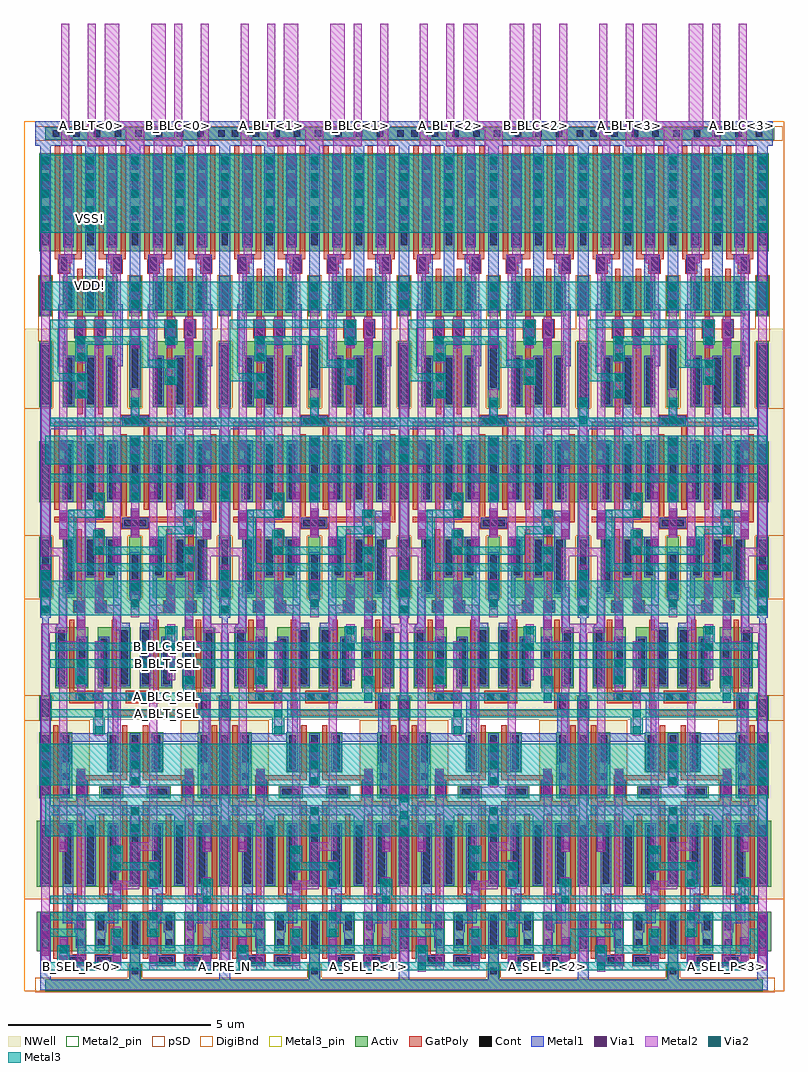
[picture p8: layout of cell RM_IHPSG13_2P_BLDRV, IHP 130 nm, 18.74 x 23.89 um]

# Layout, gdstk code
from math import pi, radians
import gdstk
lib = gdstk.Library(unit=1e-6, precision=1e-09)
def R(c, l, rs):  # rectangles x0, y0, x1, y1
    for r in rs: c.add(gdstk.rectangle(r[:2], r[2:], *l))
def A(c, l, x, y, w, h, nx, ny, dx, dy):  # array of equal rectangles
    R(c, l, [(x+i*dx, y+j*dy, x+i*dx+w, y+j*dy+h) for i in range(nx) for j in range(ny)])
def P(c, l, *ps):  # polygons
    for p in ps: c.add(gdstk.Polygon(p, *l))
Activ = (1, 0)
GatPoly = (5, 0)
Cont = (6, 0)
Metal1 = (8, 0)
Metal2 = (10, 0)
Metal2_pin = (10, 2)
pSD = (14, 0)
DigiBnd = (16, 0)
Via1 = (19, 0)
Via2 = (29, 0)
Metal3 = (30, 0)
Metal3_pin = (30, 2)
NWell = (31, 0)

m2_m1_cdns_749721464288 = lib.new_cell('M2_M1_CDNS_749721464288')
R(m2_m1_cdns_749721464288, Metal1, [(-0.35,-0.105,0.35,0.105)])
R(m2_m1_cdns_749721464288, Metal2, [(-0.35,-0.1,0.35,0.1)])
R(m2_m1_cdns_749721464288, Via1, [(-0.3,-0.095,-0.11,0.095), (0.11,-0.095,0.3,0.095)])

m3_m2_cdns_7497214642810 = lib.new_cell('M3_M2_CDNS_7497214642810')
R(m3_m2_cdns_7497214642810, Metal2, [(-0.35,-0.1,0.35,0.1)])
R(m3_m2_cdns_7497214642810, Via2, [(-0.3,-0.095,-0.11,0.095), (0.11,-0.095,0.3,0.095)])
R(m3_m2_cdns_7497214642810, Metal3, [(-0.35,-0.1,0.35,0.1)])

viagen23_cdns_7497214642 = lib.new_cell('viagen23_CDNS_7497214642830')
R(viagen23_cdns_7497214642, Metal2, [(-0.105,-0.35,0.105,0.35)])
R(viagen23_cdns_7497214642, Via2, [(-0.095,-0.3,0.095,-0.11), (-0.095,0.11,0.095,0.3)])
R(viagen23_cdns_7497214642, Metal3, [(-0.1,-0.35,0.1,0.35)])

viagen12_cdns_7497214642 = lib.new_cell('viagen12_CDNS_7497214642831')
R(viagen12_cdns_7497214642, Metal1, [(-0.105,-0.35,0.105,0.35)])
R(viagen12_cdns_7497214642, Metal2, [(-0.1,-0.35,0.1,0.35)])
R(viagen12_cdns_7497214642, Via1, [(-0.095,-0.3,0.095,-0.11), (-0.095,0.11,0.095,0.3)])

m2_m1_cdns_7497214642828 = lib.new_cell('M2_M1_CDNS_7497214642828')
R(m2_m1_cdns_7497214642828, Metal1, [(-0.555,-0.105,0.555,0.105)])
R(m2_m1_cdns_7497214642828, Metal2, [(-0.555,-0.1,0.555,0.1)])
A(m2_m1_cdns_7497214642828, Via1, -0.505, -0.095, 0.19, 0.19, 3, 1, 0.41, 0)

c_viagen23_cdns_7497214642 = lib.new_cell('viagen23_CDNS_7497214642832')
R(c_viagen23_cdns_7497214642, Metal2, [(-0.965,-0.1,0.145,0.1)])
A(c_viagen23_cdns_7497214642, Via2, -0.915, -0.095, 0.19, 0.19, 3, 1, 0.41, 0)
R(c_viagen23_cdns_7497214642, Metal3, [(-0.92,-0.145,0.1,0.145)])

m3_m2_cdns_7497214642833 = lib.new_cell('M3_M2_CDNS_7497214642833')
R(m3_m2_cdns_7497214642833, Metal2, [(-0.35,-0.1,0.35,0.1)])
R(m3_m2_cdns_7497214642833, Via2, [(-0.3,-0.095,-0.11,0.095), (0.11,-0.095,0.3,0.095)])
R(m3_m2_cdns_7497214642833, Metal3, [(-0.305,-0.145,0.305,0.145)])

m2_m1_cdns_7497214642834 = lib.new_cell('M2_M1_CDNS_7497214642834')
R(m2_m1_cdns_7497214642834, Metal1, [(-0.965,-0.105,0.145,0.105)])
R(m2_m1_cdns_7497214642834, Metal2, [(-0.965,-0.1,0.145,0.1)])
A(m2_m1_cdns_7497214642834, Via1, -0.915, -0.095, 0.19, 0.19, 3, 1, 0.41, 0)

m3_m2_cdns_7497214642835 = lib.new_cell('M3_M2_CDNS_7497214642835')
R(m3_m2_cdns_7497214642835, Metal2, [(-0.555,-0.1,0.555,0.1)])
A(m3_m2_cdns_7497214642835, Via2, -0.505, -0.095, 0.19, 0.19, 3, 1, 0.41, 0)
R(m3_m2_cdns_7497214642835, Metal3, [(-0.555,-0.1,0.555,0.1)])

m2_m1_cdns_7497214642836 = lib.new_cell('M2_M1_CDNS_7497214642836')
R(m2_m1_cdns_7497214642836, Metal1, [(-1.785,-0.105,0.145,0.105)])
R(m2_m1_cdns_7497214642836, Metal2, [(-1.785,-0.1,0.145,0.1)])
A(m2_m1_cdns_7497214642836, Via1, -1.735, -0.095, 0.19, 0.19, 5, 1, 0.41, 0)

m3_m2_cdns_7497214642837 = lib.new_cell('M3_M2_CDNS_7497214642837')
R(m3_m2_cdns_7497214642837, Metal2, [(-1.785,-0.1,0.145,0.1)])
A(m3_m2_cdns_7497214642837, Via2, -1.735, -0.095, 0.19, 0.19, 5, 1, 0.41, 0)
R(m3_m2_cdns_7497214642837, Metal3, [(-1.785,-0.1,0.145,0.1)])

m2_m1_cdns_7497214642838 = lib.new_cell('M2_M1_CDNS_7497214642838')
R(m2_m1_cdns_7497214642838, Metal1, [(-0.555,-0.105,0.145,0.105)])
R(m2_m1_cdns_7497214642838, Metal2, [(-0.555,-0.1,0.145,0.1)])
R(m2_m1_cdns_7497214642838, Via1, [(-0.505,-0.095,-0.315,0.095), (-0.095,-0.095,0.095,0.095)])

m3_m2_cdns_7497214642839 = lib.new_cell('M3_M2_CDNS_7497214642839')
R(m3_m2_cdns_7497214642839, Metal2, [(-0.555,-0.1,0.145,0.1)])
R(m3_m2_cdns_7497214642839, Via2, [(-0.505,-0.095,-0.315,0.095), (-0.095,-0.095,0.095,0.095)])
R(m3_m2_cdns_7497214642839, Metal3, [(-0.51,-0.145,0.1,0.145)])

rm_ihpsg13_2p_bldrv_core = lib.new_cell('RM_IHPSG13_2P_BLDRV_CORE')
R(rm_ihpsg13_2p_bldrv_core, Activ, [(0,-0.15,4.42,0.15), (-0.22,0.83,1,1.81), (1.22,0.83,2.43,1.81), (1.99,0.83,3.2,1.81), (3.42,0.83,4.64,1.81), (-0.22,2.43,1.26,4.05), (0.96,2.43,2.43,4.05), (1.99,2.43,3.46,4.05), (3.16,2.43,4.64,4.05), (-0.15,4.61,0.66,6.23), (1.33,4.61,1.92,4.91), (2.5,4.61,3.09,4.91), (3.76,4.61,4.57,6.23), (1.52,5.25,2.9,6.23), (-0.15,6.53,0.15,7.135), (4.27,6.53,4.57,7.135), (0.24,7.325,1.05,8.825), (1.29,7.325,2.1,8.825), (2.32,7.325,3.13,8.825), (3.37,7.325,4.18,8.825), (-0.15,9.555,0.15,11.055), (-0.15,9.555,0.15,11.055), (0.43,9.555,1.78,11.055), (2.06,9.555,2.36,11.055), (2.06,9.555,2.36,11.055), (2.64,9.555,3.99,11.055), (4.27,9.555,4.57,11.055), (4.27,9.555,4.57,11.055), (-0.15,11.905,4.57,13.405), (-0.15,14.255,0.15,15.875), (-0.15,14.255,0.15,15.875), (0.43,14.255,1.78,15.875), (2.06,14.255,2.36,15.875), (2.06,14.255,2.36,15.875), (2.64,14.255,3.99,15.875), (4.27,14.255,4.57,15.875), (4.27,14.255,4.57,15.875), (-0.15,16.495,0.15,17.475), (-0.15,16.495,0.15,17.475), (0.43,16.495,1.78,17.475), (2.06,16.495,2.36,17.475), (2.06,16.495,2.36,17.475), (2.64,16.495,3.99,17.475), (4.27,16.495,4.57,17.475), (4.27,16.495,4.57,17.475), (-0.15,18.1,4.57,20.51), (0,20.85,4.705,21.15)])
P(rm_ihpsg13_2p_bldrv_core, Activ, [(2.06,-0.15),(2.06,0.5),(2.09,0.5),(2.09,0.83),(2.33,0.83),(2.33,0.5),(2.36,0.5),(2.36,-0.15)])
R(rm_ihpsg13_2p_bldrv_core, GatPoly, [(0.53,0.46,1.01,0.76), (1.21,0.46,1.69,0.76), (2.73,0.46,3.21,0.76), (3.41,0.46,3.89,0.76), (0.19,0.65,0.32,2.25), (0.53,0.65,0.66,2.25), (1.56,0.65,1.69,2.25), (1.89,0.65,2.02,2.25), (2.4,0.65,2.53,2.25), (2.73,0.65,2.86,2.25), (3.76,0.65,3.89,2.25), (4.1,0.65,4.23,2.25), (0.53,2.12,0.9,2.25), (1.32,2.12,1.69,2.25), (2.73,2.12,3.1,2.25), (3.52,2.12,3.89,2.25), (0.19,2.25,0.32,4.23), (0.77,2.25,0.9,4.23), (1.32,2.25,1.45,4.23), (1.89,2.25,2.02,4.23), (2.4,2.25,2.53,4.23), (2.97,2.25,3.1,4.23), (3.52,2.25,3.65,4.23), (4.1,2.25,4.23,4.23), (0.19,4.23,0.32,6.41), (4.1,4.23,4.23,6.41), (1.89,5.07,2.02,6.41), (2.4,5.07,2.53,6.41), (3.71,6.735,3.84,9.005), (3.76,6.735,4.06,7.215), (1.87,11.245,2.56,11.545), (0.21,11.725,0.34,13.585), (0.77,11.725,0.9,13.585), (1.31,11.725,1.44,13.585), (1.87,11.725,2,13.585), (2.42,11.725,2.55,13.585), (2.98,11.725,3.11,13.585), (3.52,11.725,3.65,13.585), (4.08,11.725,4.21,13.585), (1.86,13.765,2.55,14.065), (0.785,14.075,0.915,15.945), (1.295,14.075,1.425,15.945), (2.995,14.075,3.125,15.945), (3.505,14.075,3.635,15.945), (0.705,15.945,1.005,16.425), (1.195,15.945,1.495,16.425), (2.925,15.945,3.225,16.425), (3.415,15.945,3.715,16.425), (0.785,16.425,0.915,17.665), (1.295,16.425,1.425,17.665), (2.995,16.425,3.125,17.665), (3.505,16.425,3.635,17.665), (0.305,17.545,0.605,17.895), (1.605,17.545,1.905,17.895), (2.515,17.545,2.815,17.895), (3.815,17.545,4.115,17.895)])
P(rm_ihpsg13_2p_bldrv_core, GatPoly, [(2.4,4.23),(2.4,4.54),(3.365,4.54),(3.365,5.05),(2.4,5.05),(2.4,5.18),(3.665,5.18),(3.665,4.54),(4.23,4.54),(4.23,4.41),(2.53,4.41),(2.53,4.23)],
  [(0.58,6.955),(0.58,9.005),(0.71,9.005),(0.71,7.255),(1.39,7.255),(1.39,6.955)],
  [(2.905,9.185),(2.905,9.485),(2.98,9.485),(2.98,11.235),(3.11,11.235),(3.11,9.485),(3.205,9.485),(3.205,9.185)],
  [(2.44,17.895),(2.44,20.7),(2.57,20.7),(2.57,18.025),(2.98,18.025),(2.98,20.7),(3.11,20.7),(3.11,17.895)],
  [(1.98,6.955),(1.98,7.255),(2.66,7.255),(2.66,9.005),(2.79,9.005),(2.79,6.955)],
  [(1.89,4.23),(1.89,4.41),(0.19,4.41),(0.19,4.54),(0.755,4.54),(0.755,5.18),(2.02,5.18),(2.02,5.05),(1.055,5.05),(1.055,4.54),(2.02,4.54),(2.02,4.23)],
  [(1.215,9.185),(1.215,9.485),(1.31,9.485),(1.31,11.235),(1.44,11.235),(1.44,9.485),(1.515,9.485),(1.515,9.185)],
  [(0.21,11.415),(0.21,11.545),(1.31,11.545),(1.31,11.725),(1.44,11.725),(1.44,11.545),(1.87,11.545),(1.87,11.725),(2,11.725),(2,11.545),(3.52,11.545),(3.52,11.725),(3.65,11.725),(3.65,11.545),(4.08,11.545),(4.08,11.725),(4.21,11.725),(4.21,11.415)],
  [(3.435,9.185),(3.435,9.485),(3.52,9.485),(3.52,11.235),(3.65,11.235),(3.65,9.485),(3.735,9.485),(3.735,9.185)],
  [(0.21,13.585),(0.21,13.895),(4.21,13.895),(4.21,13.765),(3.11,13.765),(3.11,13.585),(2.98,13.585),(2.98,13.765),(2.55,13.765),(2.55,13.585),(2.42,13.585),(2.42,13.765),(0.9,13.765),(0.9,13.585),(0.77,13.585),(0.77,13.765),(0.34,13.765),(0.34,13.585)],
  [(3.52,17.895),(3.52,20.7),(3.65,20.7),(3.65,18.025),(4.06,18.025),(4.06,20.7),(4.19,20.7),(4.19,17.895)],
  [(1.63,6.645),(1.63,9.005),(1.76,9.005),(1.76,6.775),(4.06,6.775),(4.06,6.645)],
  [(0.23,17.895),(0.23,20.7),(0.36,20.7),(0.36,18.025),(0.77,18.025),(0.77,20.7),(0.9,20.7),(0.9,17.895)],
  [(0.685,9.185),(0.685,9.485),(0.77,9.485),(0.77,11.235),(0.9,11.235),(0.9,9.485),(0.985,9.485),(0.985,9.185)],
  [(1.31,17.895),(1.31,20.7),(1.44,20.7),(1.44,18.025),(1.85,18.025),(1.85,20.7),(1.98,20.7),(1.98,17.895)])
A(rm_ihpsg13_2p_bldrv_core, Cont, 1.03, 2.5, 0.16, 1.445, 3, 1, 0.55, 0)
A(rm_ihpsg13_2p_bldrv_core, Cont, 2.13, 2.5, 0.16, 1.445, 3, 1, 0.55, 0)
A(rm_ihpsg13_2p_bldrv_core, Cont, 1.59, 5.32, 0.16, 0.84, 3, 1, 0.54, 0)
A(rm_ihpsg13_2p_bldrv_core, Cont, 0.475, 11.975, 0.16, 1.36, 3, 1, 0.55, 0)
A(rm_ihpsg13_2p_bldrv_core, Cont, 2.685, 11.975, 0.16, 1.36, 3, 1, 0.55, 0)
A(rm_ihpsg13_2p_bldrv_core, Cont, 0.5, 14.325, 0.16, 1.15, 3, 1, 0.525, 0)
A(rm_ihpsg13_2p_bldrv_core, Cont, 2.71, 14.325, 0.16, 1.15, 3, 1, 0.525, 0)
A(rm_ihpsg13_2p_bldrv_core, Cont, 0.5, 16.635, 0.16, 0.7, 3, 1, 0.525, 0)
A(rm_ihpsg13_2p_bldrv_core, Cont, 2.71, 16.635, 0.16, 0.7, 3, 1, 0.525, 0)
A(rm_ihpsg13_2p_bldrv_core, Cont, -0.08, 18.24, 0.16, 0.34, 1, 4, 0, 0.62)
A(rm_ihpsg13_2p_bldrv_core, Cont, 0.485, 18.24, 0.16, 0.34, 3, 4, 0.54, 0.62)
A(rm_ihpsg13_2p_bldrv_core, Cont, 2.13, 18.24, 0.16, 0.34, 1, 4, 0, 0.62)
A(rm_ihpsg13_2p_bldrv_core, Cont, 2.695, 18.24, 0.16, 0.34, 3, 4, 0.54, 0.62)
A(rm_ihpsg13_2p_bldrv_core, Cont, 4.34, 18.24, 0.16, 0.34, 1, 4, 0, 0.62)
A(rm_ihpsg13_2p_bldrv_core, Cont, 0.175, 20.92, 0.16, 0.16, 9, 1, 0.51, 0)
R(rm_ihpsg13_2p_bldrv_core, Cont, [(2.13,0.27,2.29,0.43), (0.6,0.53,0.94,0.69), (1.28,0.53,1.62,0.69), (2.8,0.53,3.14,0.69), (3.48,0.53,3.82,0.69), (-0.08,0.9,0.08,1.74), (2.13,0.9,2.29,1.74), (2.13,0.9,2.29,1.74), (4.34,0.9,4.5,1.74), (0.77,0.97,0.93,1.13), (1.29,0.97,1.45,1.13), (2.97,0.97,3.13,1.13), (3.49,0.97,3.65,1.13), (0.77,1.35,0.93,1.74), (1.29,1.35,1.45,1.74), (2.97,1.35,3.13,1.74), (3.49,1.35,3.65,1.74), (-0.08,2.5,0.08,3.945), (0.48,2.5,0.64,3.945), (1.03,2.5,1.19,3.945), (3.23,2.5,3.39,3.945), (3.78,2.5,3.94,3.945), (4.34,2.5,4.5,3.945), (-0.08,4.68,0.08,6.16), (0.43,4.68,0.59,4.84), (0.825,4.68,0.985,5.02), (1.42,4.68,1.83,4.84), (2.59,4.68,3,4.84), (3.435,4.68,3.595,5.02), (3.83,4.68,3.99,4.84), (4.34,4.68,4.5,6.16), (0.43,5.06,0.59,5.22), (3.83,5.06,3.99,5.22), (0.43,5.5,0.59,6.16), (3.83,5.5,3.99,6.16), (-0.08,6.62,0.08,7.045), (4.34,6.62,4.5,7.045), (3.83,6.805,3.99,7.145), (0.82,7.025,0.98,7.185), (1.16,7.025,1.32,7.185), (2.05,7.025,2.21,7.185), (2.39,7.025,2.55,7.185), (0.31,7.425,0.47,8.755), (0.82,7.425,0.98,8.535), (1.36,7.425,1.52,8.535), (1.87,7.425,2.03,8.755), (2.39,7.425,2.55,8.755), (2.39,7.425,2.55,8.755), (2.9,7.425,3.06,8.535), (3.44,7.425,3.6,8.535), (3.95,7.425,4.11,8.755), (0.755,9.255,0.915,9.415), (1.285,9.255,1.445,9.415), (2.975,9.255,3.135,9.415), (3.505,9.255,3.665,9.415), (-0.08,9.625,0.08,10.985), (2.13,9.625,2.29,10.61), (4.34,9.625,4.5,10.985), (0.5,9.695,0.66,10.985), (3.76,9.695,3.92,10.985), (1.025,10.105,1.185,10.985), (1.55,10.105,1.71,10.985), (2.71,10.105,2.87,10.985), (3.235,10.105,3.395,10.985), (1.94,11.315,2.48,11.475), (-0.08,11.975,0.08,13.335), (2.13,11.975,2.29,13.335), (4.34,11.975,4.5,13.335), (1.94,13.835,2.48,13.995), (-0.08,14.325,0.08,15.78), (-0.08,14.325,0.08,15.78), (4.34,14.325,4.5,15.78), (4.34,14.325,4.5,15.78), (2.13,14.735,2.29,15.78), (0.775,16.015,0.935,16.355), (1.265,16.015,1.425,16.355), (2.995,16.015,3.155,16.355), (3.485,16.015,3.645,16.355), (-0.08,16.635,0.08,17.335), (-0.08,16.635,0.08,17.335), (2.13,16.635,2.29,17.335), (2.13,16.635,2.29,17.335), (4.34,16.635,4.5,17.335), (4.34,16.635,4.5,17.335), (0.375,17.615,0.535,17.955), (1.675,17.615,1.835,17.955), (2.585,17.615,2.745,17.955), (3.885,17.615,4.045,17.955)])
A(rm_ihpsg13_2p_bldrv_core, Metal1, -0.13, 0.13, 0.26, 1.66, 3, 1, 2.21, 0)
A(rm_ihpsg13_2p_bldrv_core, Metal1, 0.43, 2.45, 0.26, 1.545, 4, 1, 1.1, 0)
A(rm_ihpsg13_2p_bldrv_core, Metal1, 0.98, 2.45, 0.26, 1.98, 3, 1, 1.1, 0)
A(rm_ihpsg13_2p_bldrv_core, Metal1, 1.03, 2.45, 0.16, 1.98, 3, 1, 1.1, 0)
A(rm_ihpsg13_2p_bldrv_core, Metal1, 1.54, 5.27, 0.26, 0.94, 3, 1, 0.54, 0)
A(rm_ihpsg13_2p_bldrv_core, Metal1, 0.425, 11.925, 0.26, 1.505, 3, 1, 0.55, 0)
R(rm_ihpsg13_2p_bldrv_core, Metal1, [(-0.13,-0.13,4.55,0.13), (2.13,0.13,2.29,1.79), (0.335,0.48,0.99,0.74), (1.23,0.48,1.67,0.74), (2.75,0.48,3.19,0.74), (3.43,0.48,4.085,0.74), (-0.13,2.45,0.13,4.63), (4.29,2.45,4.55,4.63), (-0.13,4.195,4.55,4.43), (-0.13,4.63,0.13,6.21), (0.775,4.63,1.035,5.07), (3.385,4.63,3.645,5.07), (4.29,4.63,4.55,6.21), (0.64,6,1.54,6.21), (2.88,6,3.78,6.21), (-0.13,6.21,0.13,7.115), (1.54,6.21,1.8,7.195), (3.78,6.21,4.04,7.195), (4.29,6.21,4.55,7.115), (0.75,7.015,2.6,7.195), (-0.08,7.115,0.08,9.055), (4.34,7.115,4.5,9.055), (0.26,7.375,0.52,8.89), (0.77,7.375,1.03,8.585), (1.31,7.375,1.57,8.585), (1.82,7.375,2.08,8.935), (2.34,7.375,2.6,8.935), (2.85,7.375,3.11,8.585), (3.39,7.375,3.65,8.585), (3.9,7.375,4.16,8.825), (-0.13,9.055,0.13,11.925), (4.29,9.055,4.55,11.925), (0.705,9.205,0.965,9.465), (1.235,9.205,1.495,9.465), (2.925,9.205,3.185,9.465), (3.455,9.205,3.715,9.465), (2.08,9.48,2.34,10.68), (0.975,10.055,1.235,11.035), (1.5,10.055,1.76,11.055), (2.66,10.055,2.92,11.055), (3.185,10.055,3.445,11.015), (0.975,11.015,1.235,12.055), (3.185,11.015,3.445,12.055), (1.89,11.265,2.53,11.525), (-0.13,11.925,0.13,13.43), (2.08,11.925,2.34,13.545), (2.635,11.925,2.895,13.435), (3.185,11.925,3.445,13.43), (3.735,11.925,3.995,13.43), (4.29,11.925,4.55,13.43), (-0.13,13.255,0.13,15.83), (0.975,13.255,1.235,15.525), (3.185,13.255,3.445,15.525), (4.29,13.255,4.55,15.83), (0.06,13.71,1.03,13.99), (3.38,13.71,4.35,13.99), (1.89,13.785,2.53,14.045), (0.975,14.275,1.235,15.525), (3.185,14.275,3.445,15.525), (2.08,14.685,2.34,16.405), (0.725,15.965,0.985,16.405), (1.215,15.965,1.475,16.405), (2.945,15.965,3.205,16.405), (3.435,15.965,3.695,16.405), (-0.13,16.515,0.13,17.665), (4.29,16.515,4.55,17.665), (0.975,16.585,1.235,18.19), (2.08,16.585,2.34,20.7), (3.185,16.585,3.445,18.19), (0.325,17.565,0.71,18.005), (2.535,17.565,2.92,18.005), (3.71,17.565,4.095,18.005), (-0.13,17.665,0.13,20.7), (4.29,17.665,4.55,20.7), (0.435,18.19,0.695,20.49), (0.975,18.19,1.235,20.7), (1.515,18.19,1.775,20.49), (2.645,18.19,2.905,20.49), (3.185,18.19,3.445,20.7), (3.725,18.19,3.985,20.49), (-0.255,20.7,4.675,21.3)])
P(rm_ihpsg13_2p_bldrv_core, Metal1, [(0.43,1.53),(0.43,2.45),(0.69,2.45),(0.69,1.79),(0.72,1.79),(0.72,1.53)],
  [(0.38,4.63),(0.38,6.21),(0.64,6.21),(0.64,5.45),(0.595,5.45),(0.595,4.63)],
  [(0.33,8.825),(0.33,9.805),(0.45,9.805),(0.45,11.695),(0.71,11.695),(0.71,9.645),(0.515,9.645),(0.515,8.825)],
  [(0.45,14.275),(0.45,15.265),(0.31,15.265),(0.31,16.785),(0.45,16.785),(0.45,17.565),(0.71,17.565),(0.71,16.585),(0.49,16.585),(0.49,15.525),(0.71,15.525),(0.71,14.275)],
  [(2.66,14.275),(2.66,15.265),(2.52,15.265),(2.52,16.785),(2.66,16.785),(2.66,17.565),(2.92,17.565),(2.92,16.585),(2.7,16.585),(2.7,15.525),(2.92,15.525),(2.92,14.275)],
  [(2.555,8.755),(2.555,10.355),(2.66,10.355),(2.66,11.055),(2.92,11.055),(2.92,10.055),(2.745,10.055),(2.745,8.755)],
  [(3.905,8.825),(3.905,9.645),(3.71,9.645),(3.71,11.695),(3.97,11.695),(3.97,9.805),(4.09,9.805),(4.09,8.825)],
  [(1.675,8.755),(1.675,10.055),(1.5,10.055),(1.5,11.055),(1.76,11.055),(1.76,10.355),(1.865,10.355),(1.865,8.755)],
  [(0.75,0.92),(0.75,1.3),(0.72,1.3),(0.72,1.79),(0.98,1.79),(0.98,0.92)],
  [(3.71,14.275),(3.71,15.525),(3.93,15.525),(3.93,16.585),(3.71,16.585),(3.71,17.565),(3.97,17.565),(3.97,16.785),(4.11,16.785),(4.11,15.265),(3.97,15.265),(3.97,14.275)],
  [(3.44,0.92),(3.44,1.79),(3.7,1.79),(3.7,1.3),(3.67,1.3),(3.67,0.92)],
  [(1.5,14.275),(1.5,15.525),(1.72,15.525),(1.72,16.585),(1.5,16.585),(1.5,18.005),(1.885,18.005),(1.885,17.565),(1.76,17.565),(1.76,16.785),(1.9,16.785),(1.9,15.265),(1.76,15.265),(1.76,14.275)],
  [(2.95,0.92),(2.95,1.3),(2.92,1.3),(2.92,1.79),(3.18,1.79),(3.18,0.92)],
  [(1.5,1.53),(1.5,1.79),(1.53,1.79),(1.53,2.45),(1.79,2.45),(1.79,1.53)],
  [(2.63,1.53),(2.63,2.45),(2.89,2.45),(2.89,1.79),(2.92,1.79),(2.92,1.53)],
  [(1.37,4.63),(1.37,4.89),(2.08,4.89),(2.08,5.27),(2.34,5.27),(2.34,4.89),(3.05,4.89),(3.05,4.63)],
  [(1.24,0.92),(1.24,1.79),(1.5,1.79),(1.5,1.3),(1.47,1.3),(1.47,0.92)],
  [(3.7,1.53),(3.7,1.79),(3.73,1.79),(3.73,2.45),(3.99,2.45),(3.99,1.53)],
  [(3.825,4.63),(3.825,5.45),(3.78,5.45),(3.78,6.21),(4.04,6.21),(4.04,4.63)])
R(rm_ihpsg13_2p_bldrv_core, Metal2, [(-0.1,0.37,0.1,8.905), (0.34,0.37,0.54,0.74), (0.78,0.37,0.98,5.33), (1.66,0.37,1.86,0.74), (2.56,0.37,2.76,1.8), (3.44,0.37,3.64,5.33), (3.88,0.37,4.08,2.205), (4.32,0.37,4.52,8.905), (1.66,2.365,2.315,2.575), (2.105,2.365,2.315,3.52), (2.555,2.375,2.765,3.075), (0.34,3.295,0.54,8.485), (3.88,3.295,4.08,8.485), (2.105,3.31,2.76,3.52), (1.66,3.375,1.86,9.35), (2.56,3.52,2.76,9.375), (2.105,3.73,2.315,4.43), (1.22,6.845,1.42,8.075), (3.44,6.965,3.64,8.075), (0.78,7.23,0.98,8.075), (3,7.52,3.2,8.075), (0.34,8.285,0.98,8.485), (0.78,8.285,0.98,15.085), (3.44,8.285,4.08,8.485), (3.44,8.285,3.64,10.405), (-0.1,8.695,0.54,8.905), (3.88,8.695,4.52,8.905), (0.34,8.905,0.54,10.575), (3.88,8.905,4.08,10.785), (2.105,9.075,2.315,10.01), (-0.1,9.115,0.1,10.365), (4.32,9.115,4.52,10.365), (1.22,9.175,1.42,10.815), (1.22,9.175,1.86,9.375), (2.56,9.175,3.2,9.375), (3,9.175,3.2,15.42), (1.66,10.355,1.86,18.005), (2.56,10.355,2.76,18.005), (-0.1,10.575,0.54,10.785), (-0.1,10.575,0.1,17.345), (3.88,10.575,4.52,10.785), (4.32,10.575,4.52,17.345), (0.34,10.995,0.54,18.005), (3.88,10.995,4.08,18.005), (3.44,11.115,3.64,16.485), (2.11,11.265,2.31,12.315), (1.22,11.525,1.42,16.485), (2.105,12.845,2.315,13.545), (2.11,12.845,2.31,13.545), (2.11,14.175,2.31,14.695), (2.11,15.705,2.31,17.345), (0.78,15.795,0.98,16.485), (3,16.205,3.2,16.485), (0.465,17.805,0.665,20.89), (1.545,17.805,1.745,20.69), (2.675,17.805,2.875,20.69), (3.755,17.805,3.955,20.89), (1.985,18.55,2.435,21.1), (0.39,20.69,0.665,20.89), (0.39,20.69,0.59,23.71), (1.045,20.69,1.745,20.89), (1.045,20.69,1.245,23.71), (2.675,20.69,3.375,20.89), (3.175,20.69,3.375,23.71), (3.755,20.69,4.03,20.89), (3.83,20.69,4.03,23.71), (1.455,21.1,2.965,21.3), (1.455,21.3,1.815,23.71), (2.605,21.3,2.965,23.71)])
A(rm_ihpsg13_2p_bldrv_core, pSD, -0.18, 15.875, 0.36, 0.59, 3, 1, 2.21, 0)
R(rm_ihpsg13_2p_bldrv_core, pSD, [(-0.255,-0.18,4.725,0.18), (2.03,-0.18,2.39,0.53), (-0.53,2.12,4.95,4.36), (-0.53,4.36,1.09,6.53), (1.09,4.36,3.33,4.94), (3.33,4.36,4.95,6.53), (0.18,9.275,2.03,11.235), (2.39,9.275,4.24,11.235), (-0.53,11.085,4.95,14.225), (0.18,14.225,2.03,16.185), (2.39,14.225,4.24,16.185), (-0.18,16.465,0.18,17.505), (-0.18,16.465,0.18,17.505), (2.03,16.465,2.39,17.505), (2.03,16.465,2.39,17.505), (4.24,16.465,4.6,17.505), (4.24,16.465,4.6,17.505), (-0.255,20.82,4.915,21.18)])
P(rm_ihpsg13_2p_bldrv_core, pSD, [(0.18,7.015),(0.18,7.135),(-0.53,7.135),(-0.53,9.525),(4.95,9.525),(4.95,7.135),(4.24,7.135),(4.24,7.015)])
R(rm_ihpsg13_2p_bldrv_core, DigiBnd, [(-0.53,-0.15,4.95,21.3)])
R(rm_ihpsg13_2p_bldrv_core, Metal3, [(0.12,0.37,4.3,0.57), (0.795,0.78,0.995,1.39), (0.795,0.78,4.1,0.98), (4.1,0.78,4.3,1.39), (0.12,1.19,0.995,1.39), (0.12,1.6,4.3,1.8), (0.12,2.01,4.3,2.21), (1.615,2.83,2.805,3.03), (0,3.67,4.52,4.69), (0,4.93,4.52,5.95), (0.12,6.6,4.3,6.8), (0.12,7.01,4.3,7.21), (0.12,7.83,4.3,8.03), (0.12,8.24,4.3,8.44), (0,9.115,4.52,9.965), (0.12,12.405,4.3,12.605), (0,12.845,4.52,13.545), (0.12,13.785,4.3,13.985), (0,16.645,4.52,17.345), (-0.1,18.55,4.52,20.48)])
P(rm_ihpsg13_2p_bldrv_core, Metal3, [(1.22,10.615),(1.22,10.815),(2.78,10.815),(2.78,11.315),(3.585,11.315),(3.585,11.115),(2.98,11.115),(2.98,10.615)],
  [(0.56,10.205),(0.56,11.725),(1.335,11.725),(1.335,11.525),(0.76,11.525),(0.76,10.405),(3.64,10.405),(3.64,10.205)],
  [(2.335,15.22),(2.335,15.795),(0.78,15.795),(0.78,15.995),(2.535,15.995),(2.535,15.42),(3.2,15.42),(3.2,15.22)],
  [(0.12,14.885),(0.12,16.405),(3.2,16.405),(3.2,16.205),(0.32,16.205),(0.32,15.085),(0.98,15.085),(0.98,14.885)])
R(rm_ihpsg13_2p_bldrv_core, NWell, [(-0.53,2.12,4.95,4.36), (-0.53,4.36,1.09,6.54), (3.33,4.36,4.95,6.54), (-0.53,6.54,4.95,14.75), (-0.53,13.735,4.95,16.185)])
rm_ihpsg13_2p_bldrv_core.add(gdstk.Reference(m2_m1_cdns_749721464288, (2.21,13.195), rotation=pi/2))
rm_ihpsg13_2p_bldrv_core.add(gdstk.Reference(m2_m1_cdns_749721464288, (2.21,14.135), rotation=pi/2))
rm_ihpsg13_2p_bldrv_core.add(gdstk.Reference(m2_m1_cdns_749721464288, (2.21,11.395), rotation=pi/2))
rm_ihpsg13_2p_bldrv_core.add(gdstk.Reference(m3_m2_cdns_7497214642810, (2.21,13.195), rotation=pi/2))
rm_ihpsg13_2p_bldrv_core.add(gdstk.Reference(m3_m2_cdns_7497214642810, (2.21,16.995), rotation=pi/2))
rm_ihpsg13_2p_bldrv_core.add(gdstk.Reference(m3_m2_cdns_7497214642810, (2.21,12.255), rotation=pi/2))
rm_ihpsg13_2p_bldrv_core.add(gdstk.Reference(m3_m2_cdns_7497214642810, (2.21,14.135), rotation=pi/2))
rm_ihpsg13_2p_bldrv_core.add(gdstk.Reference(viagen23_cdns_7497214642, (2.21,9.615), rotation=pi, x_reflection=True))
rm_ihpsg13_2p_bldrv_core.add(gdstk.Reference(viagen12_cdns_7497214642, (2.21,9.615), rotation=pi, x_reflection=True))
rm_ihpsg13_2p_bldrv_core.add(gdstk.Reference(viagen12_cdns_7497214642, (1.76,10.705), rotation=pi, x_reflection=True))
rm_ihpsg13_2p_bldrv_core.add(gdstk.Reference(viagen12_cdns_7497214642, (3.1,16.055), rotation=pi, x_reflection=True))
rm_ihpsg13_2p_bldrv_core.add(gdstk.Reference(viagen12_cdns_7497214642, (3.54,9.115), rotation=pi, x_reflection=True))
rm_ihpsg13_2p_bldrv_core.add(gdstk.Reference(viagen12_cdns_7497214642, (1.32,9.525), rotation=pi, x_reflection=True))
rm_ihpsg13_2p_bldrv_core.add(gdstk.Reference(viagen12_cdns_7497214642, (3.54,7.725), rotation=pi, x_reflection=True))
rm_ihpsg13_2p_bldrv_core.add(gdstk.Reference(viagen12_cdns_7497214642, (3.54,16.055), rotation=pi, x_reflection=True))
rm_ihpsg13_2p_bldrv_core.add(gdstk.Reference(viagen12_cdns_7497214642, (3.98,11.345), rotation=pi, x_reflection=True))
rm_ihpsg13_2p_bldrv_core.add(gdstk.Reference(viagen12_cdns_7497214642, (3.1,8.135), x_reflection=True))
rm_ihpsg13_2p_bldrv_core.add(gdstk.Reference(viagen12_cdns_7497214642, (1.32,8.135), rotation=pi))
rm_ihpsg13_2p_bldrv_core.add(gdstk.Reference(viagen12_cdns_7497214642, (0.88,7.725)))
rm_ihpsg13_2p_bldrv_core.add(gdstk.Reference(viagen12_cdns_7497214642, (3.54,4.98)))
rm_ihpsg13_2p_bldrv_core.add(gdstk.Reference(viagen12_cdns_7497214642, (0.88,4.98)))
rm_ihpsg13_2p_bldrv_core.add(gdstk.Reference(viagen12_cdns_7497214642, (0.44,3.645)))
rm_ihpsg13_2p_bldrv_core.add(gdstk.Reference(viagen12_cdns_7497214642, (2.21,16.055)))
rm_ihpsg13_2p_bldrv_core.add(gdstk.Reference(viagen12_cdns_7497214642, (0.44,0.83)))
rm_ihpsg13_2p_bldrv_core.add(gdstk.Reference(viagen12_cdns_7497214642, (1.76,0.83)))
rm_ihpsg13_2p_bldrv_core.add(gdstk.Reference(viagen12_cdns_7497214642, (2.66,0.83)))
rm_ihpsg13_2p_bldrv_core.add(gdstk.Reference(viagen12_cdns_7497214642, (3.98,3.645)))
rm_ihpsg13_2p_bldrv_core.add(gdstk.Reference(viagen12_cdns_7497214642, (0.44,11.345)))
rm_ihpsg13_2p_bldrv_core.add(gdstk.Reference(viagen12_cdns_7497214642, (0.88,9.115)))
rm_ihpsg13_2p_bldrv_core.add(gdstk.Reference(viagen12_cdns_7497214642, (3.1,9.525)))
rm_ihpsg13_2p_bldrv_core.add(gdstk.Reference(viagen12_cdns_7497214642, (1.32,16.055)))
rm_ihpsg13_2p_bldrv_core.add(gdstk.Reference(viagen12_cdns_7497214642, (2.66,10.705)))
rm_ihpsg13_2p_bldrv_core.add(gdstk.Reference(viagen12_cdns_7497214642, (2.21,4.08)))
rm_ihpsg13_2p_bldrv_core.add(gdstk.Reference(viagen12_cdns_7497214642, (1.76,2.225)))
rm_ihpsg13_2p_bldrv_core.add(gdstk.Reference(viagen12_cdns_7497214642, (2.66,2.725)))
rm_ihpsg13_2p_bldrv_core.add(gdstk.Reference(viagen12_cdns_7497214642, (0.88,16.055)))
rm_ihpsg13_2p_bldrv_core.add(gdstk.Reference(viagen12_cdns_7497214642, (3.98,0.83)))
rm_ihpsg13_2p_bldrv_core.add(gdstk.Reference(m2_m1_cdns_7497214642828, (4.42,9.67), rotation=pi/2))
rm_ihpsg13_2p_bldrv_core.add(gdstk.Reference(m2_m1_cdns_7497214642828, (0,9.67), rotation=pi/2))
rm_ihpsg13_2p_bldrv_core.add(gdstk.Reference(c_viagen23_cdns_7497214642, (2.21,5.85), rotation=pi/2))
rm_ihpsg13_2p_bldrv_core.add(gdstk.Reference(m3_m2_cdns_7497214642833, (3.54,10.51), rotation=3*pi/2, x_reflection=True))
rm_ihpsg13_2p_bldrv_core.add(gdstk.Reference(m3_m2_cdns_7497214642833, (0.88,14.78), rotation=3*pi/2, x_reflection=True))
rm_ihpsg13_2p_bldrv_core.add(gdstk.Reference(m3_m2_cdns_7497214642833, (1.32,10.92), rotation=3*pi/2, x_reflection=True))
rm_ihpsg13_2p_bldrv_core.add(gdstk.Reference(m3_m2_cdns_7497214642833, (0.88,15.69), rotation=pi/2))
rm_ihpsg13_2p_bldrv_core.add(gdstk.Reference(m3_m2_cdns_7497214642833, (3.1,15.115), rotation=pi/2))
rm_ihpsg13_2p_bldrv_core.add(gdstk.Reference(m3_m2_cdns_7497214642833, (3.54,11.42), rotation=pi/2))
rm_ihpsg13_2p_bldrv_core.add(gdstk.Reference(m3_m2_cdns_7497214642833, (1.32,11.83), rotation=pi/2))
rm_ihpsg13_2p_bldrv_core.add(gdstk.Reference(m3_m2_cdns_7497214642833, (3.1,16.1), rotation=pi/2))
rm_ihpsg13_2p_bldrv_core.add(gdstk.Reference(m2_m1_cdns_7497214642834, (2.21,5.85), rotation=pi/2))
rm_ihpsg13_2p_bldrv_core.add(gdstk.Reference(m3_m2_cdns_7497214642835, (0,9.67), rotation=pi/2))
rm_ihpsg13_2p_bldrv_core.add(gdstk.Reference(m3_m2_cdns_7497214642835, (4.42,9.67), rotation=pi/2))
rm_ihpsg13_2p_bldrv_core.add(gdstk.Reference(m2_m1_cdns_7497214642836, (4.42,20.335), rotation=pi/2))
rm_ihpsg13_2p_bldrv_core.add(gdstk.Reference(m2_m1_cdns_7497214642836, (0,20.335), rotation=pi/2))
rm_ihpsg13_2p_bldrv_core.add(gdstk.Reference(m2_m1_cdns_7497214642836, (1.105,20.335), rotation=pi/2))
rm_ihpsg13_2p_bldrv_core.add(gdstk.Reference(m2_m1_cdns_7497214642836, (2.21,20.335), rotation=pi/2))
rm_ihpsg13_2p_bldrv_core.add(gdstk.Reference(m2_m1_cdns_7497214642836, (3.855,20.335), rotation=pi/2))
rm_ihpsg13_2p_bldrv_core.add(gdstk.Reference(m2_m1_cdns_7497214642836, (2.775,20.335), rotation=pi/2))
rm_ihpsg13_2p_bldrv_core.add(gdstk.Reference(m2_m1_cdns_7497214642836, (1.645,20.335), rotation=pi/2))
rm_ihpsg13_2p_bldrv_core.add(gdstk.Reference(m2_m1_cdns_7497214642836, (0.565,20.335), rotation=pi/2))
rm_ihpsg13_2p_bldrv_core.add(gdstk.Reference(m2_m1_cdns_7497214642836, (3.315,20.335), rotation=pi/2))
rm_ihpsg13_2p_bldrv_core.add(gdstk.Reference(m3_m2_cdns_7497214642837, (3.315,20.335), rotation=pi/2))
rm_ihpsg13_2p_bldrv_core.add(gdstk.Reference(m3_m2_cdns_7497214642837, (4.42,20.335), rotation=pi/2))
rm_ihpsg13_2p_bldrv_core.add(gdstk.Reference(m3_m2_cdns_7497214642837, (2.21,20.335), rotation=pi/2))
rm_ihpsg13_2p_bldrv_core.add(gdstk.Reference(m3_m2_cdns_7497214642837, (1.105,20.335), rotation=pi/2))
rm_ihpsg13_2p_bldrv_core.add(gdstk.Reference(m3_m2_cdns_7497214642837, (0,20.335), rotation=pi/2))
rm_ihpsg13_2p_bldrv_core.add(gdstk.Reference(m2_m1_cdns_7497214642838, (1.76,12.48), rotation=pi/2))
rm_ihpsg13_2p_bldrv_core.add(gdstk.Reference(m2_m1_cdns_7497214642838, (2.66,12.48), rotation=pi/2))
rm_ihpsg13_2p_bldrv_core.add(gdstk.Reference(m2_m1_cdns_7497214642838, (3.98,13.285), rotation=pi/2))
rm_ihpsg13_2p_bldrv_core.add(gdstk.Reference(m2_m1_cdns_7497214642838, (0.44,13.285), rotation=pi/2))
rm_ihpsg13_2p_bldrv_core.add(gdstk.Reference(m3_m2_cdns_7497214642839, (3.1,8.75), rotation=pi/2, x_reflection=True))
rm_ihpsg13_2p_bldrv_core.add(gdstk.Reference(m3_m2_cdns_7497214642839, (3.54,7.52), rotation=pi/2, x_reflection=True))
rm_ihpsg13_2p_bldrv_core.add(gdstk.Reference(m3_m2_cdns_7497214642839, (3.98,2.52), rotation=pi/2, x_reflection=True))
rm_ihpsg13_2p_bldrv_core.add(gdstk.Reference(m3_m2_cdns_7497214642839, (1.76,3.34), rotation=pi/2, x_reflection=True))
rm_ihpsg13_2p_bldrv_core.add(gdstk.Reference(m3_m2_cdns_7497214642839, (2.66,2.93), rotation=pi/2, x_reflection=True))
rm_ihpsg13_2p_bldrv_core.add(gdstk.Reference(m3_m2_cdns_7497214642839, (0.44,0.88), rotation=pi/2, x_reflection=True))
rm_ihpsg13_2p_bldrv_core.add(gdstk.Reference(m3_m2_cdns_7497214642839, (1.76,1.29), rotation=pi/2, x_reflection=True))
rm_ihpsg13_2p_bldrv_core.add(gdstk.Reference(m3_m2_cdns_7497214642839, (2.66,1.7), rotation=pi/2, x_reflection=True))
rm_ihpsg13_2p_bldrv_core.add(gdstk.Reference(m3_m2_cdns_7497214642839, (2.21,3.875), rotation=3*pi/2))
rm_ihpsg13_2p_bldrv_core.add(gdstk.Reference(m3_m2_cdns_7497214642839, (1.32,6.7), rotation=pi/2))
rm_ihpsg13_2p_bldrv_core.add(gdstk.Reference(m3_m2_cdns_7497214642839, (0.88,7.93), rotation=pi/2))
rm_ihpsg13_2p_bldrv_core.add(gdstk.Label('B_BLT', (0.48,21.29), layer=10, texttype=25))
rm_ihpsg13_2p_bldrv_core.add(gdstk.Label('A_BLT', (1.135,21.295), layer=10, texttype=25))
rm_ihpsg13_2p_bldrv_core.add(gdstk.Label('B_BLC', (3.265,21.28), layer=10, texttype=25))
rm_ihpsg13_2p_bldrv_core.add(gdstk.Label('A_BLC', (3.925,21.295), layer=10, texttype=25))
rm_ihpsg13_2p_bldrv_core.add(gdstk.Label('B_BLC_PMOS_DRIVE', (2.665,7.51), layer=10, texttype=25))
rm_ihpsg13_2p_bldrv_core.add(gdstk.Label('A_BLC_PMOS_DRIVE', (3.895,7.51), layer=10, texttype=25))
rm_ihpsg13_2p_bldrv_core.add(gdstk.Label('A_BLT_PMOS_DRIVE', (1.765,7.51), layer=10, texttype=25))
rm_ihpsg13_2p_bldrv_core.add(gdstk.Label('B_BLT_PMOS_DRIVE', (0.445,7.515), layer=10, texttype=25))
rm_ihpsg13_2p_bldrv_core.add(gdstk.Label('B_BLT_SEL', (0.92,7.285), layer=10, texttype=25))
rm_ihpsg13_2p_bldrv_core.add(gdstk.Label('A_BLT_SEL', (1.32,7.02), layer=10, texttype=25))
rm_ihpsg13_2p_bldrv_core.add(gdstk.Label('B_BLC_SEL', (3.085,7.565), layer=10, texttype=25))
rm_ihpsg13_2p_bldrv_core.add(gdstk.Label('A_BLC_SEL', (3.48,7.05), layer=10, texttype=25))

c_viagen23_cdns_7497214642_ = lib.new_cell('viagen23_CDNS_7497214642829')
R(c_viagen23_cdns_7497214642_, Metal2, [(-0.555,-0.1,0.555,0.1)])
A(c_viagen23_cdns_7497214642_, Via2, -0.505, -0.095, 0.19, 0.19, 3, 1, 0.41, 0)
R(c_viagen23_cdns_7497214642_, Metal3, [(-0.51,-0.145,0.51,0.145)])

rm_ihpsg13_2p_bldrv = lib.new_cell('RM_IHPSG13_2P_BLDRV')
R(rm_ihpsg13_2p_bldrv, Metal2, [(8.74,8.905,8.94,10.575), (-0.1,17.345,0.1,18.55), (17.58,17.345,17.78,18.55)])
A(rm_ihpsg13_2p_bldrv, Metal2_pin, 3.44, 0.37, 0.2, 0.2, 3, 1, 0.44, 0)
A(rm_ihpsg13_2p_bldrv, Metal2_pin, 12.28, 0.37, 0.2, 0.2, 3, 1, 0.88, 0)
R(rm_ihpsg13_2p_bldrv, Metal2_pin, [(0.34,0.37,0.54,0.57), (0.78,0.37,0.98,0.57), (1.66,0.37,1.86,0.57), (2.56,0.37,2.76,0.57), (5.2,0.37,5.4,0.57), (7.86,0.37,8.06,0.57), (9.62,0.37,9.82,0.57), (16.7,0.37,16.9,0.57), (0.39,21.1,0.59,21.3), (1.045,21.1,1.245,21.3), (3.175,21.1,3.375,21.3), (3.83,21.1,4.03,21.3), (4.81,21.1,5.01,21.3), (5.465,21.1,5.665,21.3), (7.595,21.1,7.795,21.3), (8.25,21.1,8.45,21.3), (9.23,21.1,9.43,21.3), (9.885,21.1,10.085,21.3), (12.015,21.1,12.215,21.3), (12.67,21.1,12.87,21.3), (13.65,21.1,13.85,21.3), (14.305,21.1,14.505,21.3), (16.435,21.1,16.635,21.3), (17.09,21.1,17.29,21.3)])
A(rm_ihpsg13_2p_bldrv, Metal3, 4.3, 0.37, 0.24, 0.2, 3, 2, 4.42, 0.82)
A(rm_ihpsg13_2p_bldrv, Metal3, 4.3, 1.6, 0.24, 0.2, 3, 2, 4.42, 0.41)
A(rm_ihpsg13_2p_bldrv, Metal3, 4.3, 6.6, 0.24, 0.2, 3, 2, 4.42, 0.41)
A(rm_ihpsg13_2p_bldrv, Metal3, 4.3, 7.83, 0.24, 0.2, 3, 2, 4.42, 0.41)
A(rm_ihpsg13_2p_bldrv, Metal3, 4.3, 12.405, 0.24, 0.2, 3, 2, 4.42, 1.38)
R(rm_ihpsg13_2p_bldrv, Metal3_pin, [(2.885,6.6,3.085,6.8), (2.885,7.01,3.085,7.21), (2.885,7.83,3.085,8.03), (2.885,8.24,3.085,8.44), (1.005,17.145,1.205,17.345), (1.005,18.8,1.205,19)])
r = gdstk.Reference(rm_ihpsg13_2p_bldrv_core, (0,0)); r.repetition = gdstk.Repetition(4, 1, v1=(4.42,0), v2=(0,0)); rm_ihpsg13_2p_bldrv.add(r)
rm_ihpsg13_2p_bldrv.add(gdstk.Reference(m3_m2_cdns_7497214642810, (8.84,16.995), rotation=3*pi/2, x_reflection=True))
rm_ihpsg13_2p_bldrv.add(gdstk.Reference(m3_m2_cdns_7497214642810, (8.84,13.195), rotation=3*pi/2, x_reflection=True))
rm_ihpsg13_2p_bldrv.add(gdstk.Reference(m3_m2_cdns_7497214642810, (13.26,14.135), rotation=3*pi/2, x_reflection=True))
rm_ihpsg13_2p_bldrv.add(gdstk.Reference(m3_m2_cdns_7497214642810, (4.42,12.285), rotation=3*pi/2, x_reflection=True))
rm_ihpsg13_2p_bldrv.add(gdstk.Reference(m2_m1_cdns_7497214642828, (8.84,5.25), rotation=3*pi/2, x_reflection=True))
rm_ihpsg13_2p_bldrv.add(gdstk.Reference(m2_m1_cdns_7497214642828, (0,1.235), rotation=3*pi/2, x_reflection=True))
rm_ihpsg13_2p_bldrv.add(gdstk.Reference(m2_m1_cdns_7497214642828, (17.68,1.235), rotation=3*pi/2, x_reflection=True))
rm_ihpsg13_2p_bldrv.add(gdstk.Reference(c_viagen23_cdns_7497214642_, (17.68,5.44), rotation=3*pi/2, x_reflection=True))
rm_ihpsg13_2p_bldrv.add(gdstk.Reference(c_viagen23_cdns_7497214642_, (8.84,4.19), rotation=3*pi/2, x_reflection=True))
rm_ihpsg13_2p_bldrv.add(gdstk.Reference(c_viagen23_cdns_7497214642_, (0,5.44), rotation=3*pi/2, x_reflection=True))
rm_ihpsg13_2p_bldrv.add(gdstk.Label('A_BLT<3>', (14.405,21.2), layer=10, texttype=25))
rm_ihpsg13_2p_bldrv.add(gdstk.Label('A_BLT<2>', (9.985,21.2), layer=10, texttype=25))
rm_ihpsg13_2p_bldrv.add(gdstk.Label('A_BLT<1>', (5.565,21.2), layer=10, texttype=25))
rm_ihpsg13_2p_bldrv.add(gdstk.Label('A_BLT<0>', (1.145,21.2), layer=10, texttype=25))
rm_ihpsg13_2p_bldrv.add(gdstk.Label('B_BLT<3>', (13.75,21.2), layer=10, texttype=25))
rm_ihpsg13_2p_bldrv.add(gdstk.Label('B_BLT<2>', (9.33,21.2), layer=10, texttype=25))
rm_ihpsg13_2p_bldrv.add(gdstk.Label('B_BLT<1>', (4.91,21.2), layer=10, texttype=25))
rm_ihpsg13_2p_bldrv.add(gdstk.Label('B_BLT<0>', (0.49,21.2), layer=10, texttype=25))
rm_ihpsg13_2p_bldrv.add(gdstk.Label('A_SEL_P<3>', (16.8,0.47), layer=10, texttype=25))
rm_ihpsg13_2p_bldrv.add(gdstk.Label('A_SEL_P<2>', (12.38,0.47), layer=10, texttype=25))
rm_ihpsg13_2p_bldrv.add(gdstk.Label('A_SEL_P<1>', (7.96,0.47), layer=10, texttype=25))
rm_ihpsg13_2p_bldrv.add(gdstk.Label('A_PRE_N', (4.42,0.47), layer=10, texttype=25))
rm_ihpsg13_2p_bldrv.add(gdstk.Label('A_SEL_P<0>', (3.54,0.47), layer=10, texttype=25))
rm_ihpsg13_2p_bldrv.add(gdstk.Label('B_SEL_P<3>', (14.14,0.47), layer=10, texttype=25))
rm_ihpsg13_2p_bldrv.add(gdstk.Label('B_SEL_P<2>', (9.72,0.47), layer=10, texttype=25))
rm_ihpsg13_2p_bldrv.add(gdstk.Label('B_SEL_P<1>', (5.3,0.47), layer=10, texttype=25))
rm_ihpsg13_2p_bldrv.add(gdstk.Label('A_WR_ZERO', (3.98,0.47), layer=10, texttype=25))
rm_ihpsg13_2p_bldrv.add(gdstk.Label('B_SEL_P<0>', (0.88,0.47), layer=10, texttype=25))
rm_ihpsg13_2p_bldrv.add(gdstk.Label('A_BLC<3>', (17.19,21.2), layer=10, texttype=25))
rm_ihpsg13_2p_bldrv.add(gdstk.Label('A_BLC<2>', (12.77,21.2), layer=10, texttype=25))
rm_ihpsg13_2p_bldrv.add(gdstk.Label('A_BLC<1>', (8.35,21.2), layer=10, texttype=25))
rm_ihpsg13_2p_bldrv.add(gdstk.Label('A_WR_ONE', (2.66,0.47), layer=10, texttype=25))
rm_ihpsg13_2p_bldrv.add(gdstk.Label('B_WR_ONE', (0.44,0.47), layer=10, texttype=25))
rm_ihpsg13_2p_bldrv.add(gdstk.Label('A_BLC<0>', (3.93,21.2), layer=10, texttype=25))
rm_ihpsg13_2p_bldrv.add(gdstk.Label('B_BLC<3>', (16.535,21.2), layer=10, texttype=25))
rm_ihpsg13_2p_bldrv.add(gdstk.Label('B_BLC<2>', (12.115,21.2), layer=10, texttype=25))
rm_ihpsg13_2p_bldrv.add(gdstk.Label('B_BLC<1>', (7.695,21.2), layer=10, texttype=25))
rm_ihpsg13_2p_bldrv.add(gdstk.Label('B_BLC<0>', (3.275,21.2), layer=10, texttype=25))
rm_ihpsg13_2p_bldrv.add(gdstk.Label('B_WR_ZERO', (1.76,0.47), layer=10, texttype=25))
rm_ihpsg13_2p_bldrv.add(gdstk.Label('B_PRE_N', (13.26,0.47), layer=10, texttype=25))
rm_ihpsg13_2p_bldrv.add(gdstk.Label('A_BLT_SEL', (2.985,6.7), layer=30, texttype=25))
rm_ihpsg13_2p_bldrv.add(gdstk.Label('B_BLT_SEL', (2.985,7.93), layer=30, texttype=25))
rm_ihpsg13_2p_bldrv.add(gdstk.Label('VDD!', (1.105,17.245), layer=30, texttype=25))
rm_ihpsg13_2p_bldrv.add(gdstk.Label('VSS!', (1.105,18.9), layer=30, texttype=25))
rm_ihpsg13_2p_bldrv.add(gdstk.Label('B_BLC_SEL', (2.985,8.34), layer=30, texttype=25))
rm_ihpsg13_2p_bldrv.add(gdstk.Label('A_BLC_SEL', (2.985,7.11), layer=30, texttype=25))

lib.write_gds('RM_IHPSG13_2P_BLDRV.gds')
